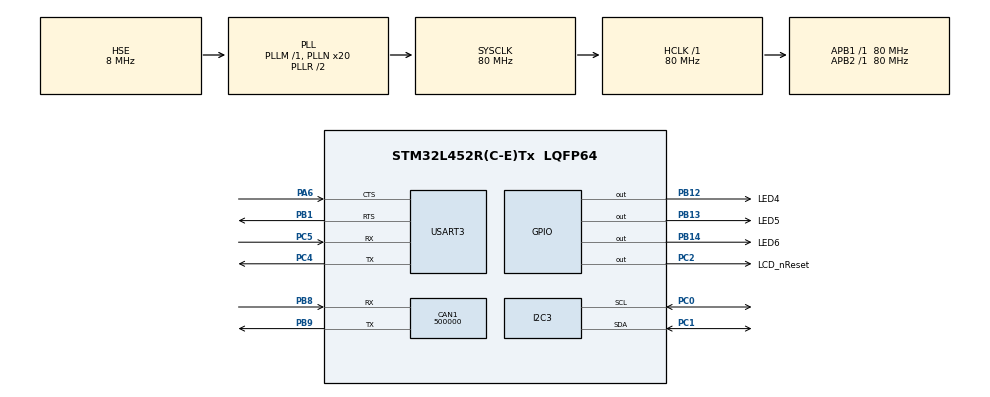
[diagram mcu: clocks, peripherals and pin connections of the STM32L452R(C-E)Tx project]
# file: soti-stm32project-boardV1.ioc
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CAN1.BS1=CAN_BS1_5TQ
CAN1.BS2=CAN_BS2_4TQ
CAN1.CalculateBaudRate=500000
CAN1.CalculateTimeBit=2000
CAN1.CalculateTimeQuantum=200.0
I2C3.OwnAddress=0
I2C3.Timing=0x10909CEC
Mcu.Family=STM32L4
Mcu.Name=STM32L452R(C-E)Tx
Mcu.Package=LQFP64
NVIC.CAN1_RX0_IRQn=true\:0\:0\:false\:false\:true\:true\:true\:true
NVIC.PriorityGroup=NVIC_PRIORITYGROUP_4
NVIC.USART3_IRQn=true\:0\:0\:false\:false\:true\:true\:true\:true
PA13\ (JTMS/SWDIO).Mode=Trace_Asynchronous_SW
PA13\ (JTMS/SWDIO).Signal=SYS_JTMS-SWDIO
PA14\ (JTCK/SWCLK).Mode=Trace_Asynchronous_SW
PA14\ (JTCK/SWCLK).Signal=SYS_JTCK-SWCLK
PA6.Mode=CTS_RTS
PA6.Signal=USART3_CTS
PB1.Mode=CTS_RTS
PB1.Signal=USART3_RTS
PB12.GPIO_Label=LED4
PB12.Signal=GPIO_Output
PB13.GPIO_Label=LED5
PB13.Signal=GPIO_Output
PB14.GPIO_Label=LED6
PB14.Signal=GPIO_Output
PB3\ (JTDO/TRACESWO).Mode=Trace_Asynchronous_SW
PB3\ (JTDO/TRACESWO).Signal=SYS_JTDO-SWO
PB8.Mode=CAN_Activate
PB8.Signal=CAN1_RX
PB9.Mode=CAN_Activate
PB9.Signal=CAN1_TX
PC0.Mode=I2C
PC0.Signal=I2C3_SCL
PC1.Mode=I2C
PC1.Signal=I2C3_SDA
PC2.GPIO_Label=LCD_nReset
PC2.PinState=GPIO_PIN_SET
PC2.Signal=GPIO_Output
PC4.Mode=Asynchronous
PC4.Signal=USART3_TX
PC5.Mode=Asynchronous
PC5.Signal=USART3_RX
PH0-OSC_IN\ (PH0).Mode=HSE-External-Oscillator
PH0-OSC_IN\ (PH0).Signal=RCC_OSC_IN
PH1-OSC_OUT\ (PH1).Mode=HSE-External-Oscillator
PH1-OSC_OUT\ (PH1).Signal=RCC_OSC_OUT
ProjectManager.HeapSize=0x200
ProjectManager.StackSize=0x400
ProjectManager.TargetToolchain=STM32CubeIDE
RCC.ADCFreq_Value=32000000
RCC.AHBFreq_Value=80000000
RCC.APB1Freq_Value=80000000
RCC.APB1TimFreq_Value=80000000
RCC.APB2Freq_Value=80000000
RCC.APB2TimFreq_Value=80000000
RCC.CortexFreq_Value=80000000
RCC.EnbaleCSS=true
RCC.HCLKFreq_Value=80000000
RCC.HSE_Timout=200
RCC.HSE_VALUE=8000000
RCC.HSI48_VALUE=48000000
RCC.HSI_VALUE=16000000
RCC.LSE_VALUE=32768
RCC.MSI_VALUE=4000000
RCC.PLLN=20
RCC.PLLSourceVirtual=RCC_PLLSOURCE_HSE
RCC.SYSCLKFreq_VALUE=80000000
RCC.SYSCLKSource=RCC_SYSCLKSOURCE_PLLCLK
RCC.USBFreq_Value=32000000
RCC.VCOOutputFreq_Value=160000000
TIM16.Period=5000 - 1
TIM16.Prescaler=80 - 1
USART3.VirtualMode-Asynchronous=VM_ASYNC
VP_TIM16_VS_ClockSourceINT.Mode=Enable_Timer
board=custom

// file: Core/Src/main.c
/* USER CODE BEGIN Header */
/**
  ******************************************************************************
  * @file           : main.c
  * @brief          : Main program body
  ******************************************************************************
  * @attention
  *
  * Copyright (c) 2023 STMicroelectronics.
  * All rights reserved.
  *
  * This software is licensed under terms that can be found in the LICENSE file
  * in the root directory of this software component.
  * If no LICENSE file comes with this software, it is provided AS-IS.
  *
  ******************************************************************************
  */
/* USER CODE END Header */
#include "main.h"

/* USER CODE BEGIN Includes */
#include "tuk/can_wrapper.h"
#include "tuk/can_wrapper/can_queue.h"
#include "LEDs_driver.h"
#include "LCD_C0216CiZ_driver.h"
/* USER CODE END Includes */

CAN_HandleTypeDef hcan1;

I2C_HandleTypeDef hi2c3;

TIM_HandleTypeDef htim16;

UART_HandleTypeDef huart3;

/* USER CODE BEGIN PV */
CANQueue groundToSatelliteQueue;
uint8_t canRxData[11];
/* USER CODE END PV */

void SystemClock_Config(void);
static void MX_GPIO_Init(void);
static void MX_CAN1_Init(void);
static void MX_USART3_UART_Init(void);
static void MX_I2C3_Init(void);
static void MX_TIM16_Init(void);
/* USER CODE BEGIN PFP */
void serializeCANMessage(CANMessage* message, uint8_t* serializedData);
void deserializeCANMessage(CANMessage* message, const uint8_t* deserializedData);
void on_message_received(CANMessage msg);
void on_error_occured(CANWrapper_ErrorInfo error);
/* USER CODE END PFP */

/* USER CODE BEGIN 0 */
CANWrapper_InitTypeDef wc_init = {
		.node_id = NODE_CDH,
		.notify_of_acks = true,

		.hcan = &hcan1,
		.htim = &htim16,

		.message_callback = &on_message_received,
		.error_callback = &on_error_occured
};
/* USER CODE END 0 */

int main(void)
{

  /* MCU Configuration--------------------------------------------------------*/

  /* Reset of all peripherals, Initializes the Flash interface and the Systick. */
  HAL_Init();

  /* Configure the system clock */
  SystemClock_Config();

  /* Initialize all configured peripherals */
  MX_GPIO_Init();
  MX_CAN1_Init();
  MX_USART3_UART_Init();
  MX_I2C3_Init();
  MX_TIM16_Init();
  /* USER CODE BEGIN 2 */
  LCD_INIT();
  char *str = "WELCOME TO SOTI!";
  LCD_PRINT_STR(str, 0);
  CANQueue groundToSatelliteQueue = CANQueue_Create();
  HAL_UART_Receive_IT(&huart3, canRxData, sizeof(canRxData));
  CANWrapper_Init(wc_init);
  LEDs_Init();
  /* USER CODE END 2 */

  /* Infinite loop */
  /* USER CODE BEGIN WHILE */
  while (1)
  {
  	CANWrapper_Poll_Messages();
  	CANWrapper_Poll_Errors();

    if (!CANQueue_IsEmpty(&groundToSatelliteQueue))
    {
      //getting message from the queue.
    	CANQueueItem receivedData;
      CANQueue_Dequeue(&groundToSatelliteQueue, &receivedData);

      CANMessage message = receivedData.msg;

      //update the sender ID
      CANWrapper_Set_Node_ID(message.sender);

      NodeID recipient = message.recipient;

      //transferring data over CAN.
      CANWrapper_Transmit(recipient, &message);
    }
    /* USER CODE END WHILE */

  }
}

void SystemClock_Config(void)
{
  RCC_OscInitTypeDef RCC_OscInitStruct = {0};
  RCC_ClkInitTypeDef RCC_ClkInitStruct = {0};

  /** Configure the main internal regulator output voltage
  */
  if (HAL_PWREx_ControlVoltageScaling(PWR_REGULATOR_VOLTAGE_SCALE1) != HAL_OK)
  {
    Error_Handler();
  }

  /** Initializes the RCC Oscillators according to the specified parameters
  * in the RCC_OscInitTypeDef structure.
  */
  RCC_OscInitStruct.OscillatorType = RCC_OSCILLATORTYPE_HSE;
  RCC_OscInitStruct.HSEState = RCC_HSE_ON;
  RCC_OscInitStruct.PLL.PLLState = RCC_PLL_ON;
  RCC_OscInitStruct.PLL.PLLSource = RCC_PLLSOURCE_HSE;
  RCC_OscInitStruct.PLL.PLLM = 1;
  RCC_OscInitStruct.PLL.PLLN = 20;
  RCC_OscInitStruct.PLL.PLLP = RCC_PLLP_DIV7;
  RCC_OscInitStruct.PLL.PLLQ = RCC_PLLQ_DIV2;
  RCC_OscInitStruct.PLL.PLLR = RCC_PLLR_DIV2;
  if (HAL_RCC_OscConfig(&RCC_OscInitStruct) != HAL_OK)
  {
    Error_Handler();
  }

  /** Initializes the CPU, AHB and APB buses clocks
  */
  RCC_ClkInitStruct.ClockType = RCC_CLOCKTYPE_HCLK|RCC_CLOCKTYPE_SYSCLK
                              |RCC_CLOCKTYPE_PCLK1|RCC_CLOCKTYPE_PCLK2;
  RCC_ClkInitStruct.SYSCLKSource = RCC_SYSCLKSOURCE_PLLCLK;
  RCC_ClkInitStruct.AHBCLKDivider = RCC_SYSCLK_DIV1;
  RCC_ClkInitStruct.APB1CLKDivider = RCC_HCLK_DIV1;
  RCC_ClkInitStruct.APB2CLKDivider = RCC_HCLK_DIV1;

  if (HAL_RCC_ClockConfig(&RCC_ClkInitStruct, FLASH_LATENCY_4) != HAL_OK)
  {
    Error_Handler();
  }

  /** Enables the Clock Security System
  */
  HAL_RCC_EnableCSS();
}

static void MX_CAN1_Init(void)
{

  hcan1.Instance = CAN1;
  hcan1.Init.Prescaler = 16;
  hcan1.Init.Mode = CAN_MODE_NORMAL;
  hcan1.Init.SyncJumpWidth = CAN_SJW_1TQ;
  hcan1.Init.TimeSeg1 = CAN_BS1_5TQ;
  hcan1.Init.TimeSeg2 = CAN_BS2_4TQ;
  hcan1.Init.TimeTriggeredMode = DISABLE;
  hcan1.Init.AutoBusOff = DISABLE;
  hcan1.Init.AutoWakeUp = DISABLE;
  hcan1.Init.AutoRetransmission = DISABLE;
  hcan1.Init.ReceiveFifoLocked = DISABLE;
  hcan1.Init.TransmitFifoPriority = DISABLE;
  if (HAL_CAN_Init(&hcan1) != HAL_OK)
  {
    Error_Handler();
  }

}

static void MX_I2C3_Init(void)
{

  hi2c3.Instance = I2C3;
  hi2c3.Init.Timing = 0x10909CEC;
  hi2c3.Init.OwnAddress1 = 0;
  hi2c3.Init.AddressingMode = I2C_ADDRESSINGMODE_7BIT;
  hi2c3.Init.DualAddressMode = I2C_DUALADDRESS_DISABLE;
  hi2c3.Init.OwnAddress2 = 0;
  hi2c3.Init.OwnAddress2Masks = I2C_OA2_NOMASK;
  hi2c3.Init.GeneralCallMode = I2C_GENERALCALL_DISABLE;
  hi2c3.Init.NoStretchMode = I2C_NOSTRETCH_DISABLE;
  if (HAL_I2C_Init(&hi2c3) != HAL_OK)
  {
    Error_Handler();
  }

  /** Configure Analogue filter
  */
  if (HAL_I2CEx_ConfigAnalogFilter(&hi2c3, I2C_ANALOGFILTER_ENABLE) != HAL_OK)
  {
    Error_Handler();
  }

  /** Configure Digital filter
  */
  if (HAL_I2CEx_ConfigDigitalFilter(&hi2c3, 0) != HAL_OK)
  {
    Error_Handler();
  }

}

static void MX_TIM16_Init(void)
{

  htim16.Instance = TIM16;
  htim16.Init.Prescaler = 80 - 1;
  htim16.Init.CounterMode = TIM_COUNTERMODE_UP;
  htim16.Init.Period = 5000 - 1;
  htim16.Init.ClockDivision = TIM_CLOCKDIVISION_DIV1;
  htim16.Init.RepetitionCounter = 0;
  htim16.Init.AutoReloadPreload = TIM_AUTORELOAD_PRELOAD_DISABLE;
  if (HAL_TIM_Base_Init(&htim16) != HAL_OK)
  {
    Error_Handler();
  }

}

static void MX_USART3_UART_Init(void)
{

  huart3.Instance = USART3;
  huart3.Init.BaudRate = 115200;
  huart3.Init.WordLength = UART_WORDLENGTH_8B;
  huart3.Init.StopBits = UART_STOPBITS_1;
  huart3.Init.Parity = UART_PARITY_NONE;
  huart3.Init.Mode = UART_MODE_TX_RX;
  huart3.Init.HwFlowCtl = UART_HWCONTROL_RTS_CTS;
  huart3.Init.OverSampling = UART_OVERSAMPLING_16;
  huart3.Init.OneBitSampling = UART_ONE_BIT_SAMPLE_DISABLE;
  huart3.AdvancedInit.AdvFeatureInit = UART_ADVFEATURE_NO_INIT;
  if (HAL_UART_Init(&huart3) != HAL_OK)
  {
    Error_Handler();
  }

}

static void MX_GPIO_Init(void)
{
  GPIO_InitTypeDef GPIO_InitStruct = {0};

  /* GPIO Ports Clock Enable */
  __HAL_RCC_GPIOH_CLK_ENABLE();
  __HAL_RCC_GPIOC_CLK_ENABLE();
  __HAL_RCC_GPIOA_CLK_ENABLE();
  __HAL_RCC_GPIOB_CLK_ENABLE();

  /*Configure GPIO pin Output Level */
  HAL_GPIO_WritePin(LCD_nReset_GPIO_Port, LCD_nReset_Pin, GPIO_PIN_SET);

  /*Configure GPIO pin Output Level */
  HAL_GPIO_WritePin(GPIOB, LED4_Pin|LED5_Pin|LED6_Pin, GPIO_PIN_RESET);

  /*Configure GPIO pin : LCD_nReset_Pin */
  GPIO_InitStruct.Pin = LCD_nReset_Pin;
  GPIO_InitStruct.Mode = GPIO_MODE_OUTPUT_PP;
  GPIO_InitStruct.Pull = GPIO_NOPULL;
  GPIO_InitStruct.Speed = GPIO_SPEED_FREQ_LOW;
  HAL_GPIO_Init(LCD_nReset_GPIO_Port, &GPIO_InitStruct);

  /*Configure GPIO pins : LED4_Pin LED5_Pin LED6_Pin */
  GPIO_InitStruct.Pin = LED4_Pin|LED5_Pin|LED6_Pin;
  GPIO_InitStruct.Mode = GPIO_MODE_OUTPUT_PP;
  GPIO_InitStruct.Pull = GPIO_NOPULL;
  GPIO_InitStruct.Speed = GPIO_SPEED_FREQ_LOW;
  HAL_GPIO_Init(GPIOB, &GPIO_InitStruct);

}

/* USER CODE BEGIN 4 */
void on_message_received(CANMessage msg)
{
	CANMessage message = msg;
	uint8_t serializedData[11];

	//serializing the CANMessage to transfer over UART.
	serializeCANMessage(&message, serializedData);
	//transferring data over UART.
	HAL_UART_Transmit(&huart3, serializedData, sizeof(serializedData), HAL_MAX_DELAY);
}

void on_error_occured(CANWrapper_ErrorInfo error)
{
	char *str1 = "ERROR:";
	char *str2 = "CAN RX";
	LCD_CLEAR_DISPLAY();
	LCD_PRINT_STR(str1, 0);
	LCD_PRINT_STR(str2, 16);
}

void HAL_UART_RxCpltCallback(UART_HandleTypeDef *huart)
{
	CANMessage message;
  deserializeCANMessage(&message, canRxData);

  CANQueue_Enqueue(&groundToSatelliteQueue, (CANQueueItem){ .msg = message });

  HAL_UART_Receive_IT(&huart3, canRxData, sizeof(canRxData));
}

void serializeCANMessage(CANMessage* message, uint8_t* serializedData)
{
  serializedData[0] = message->priority;
  serializedData[1] = message->sender;
  serializedData[2] = message->recipient;
  serializedData[3] = message->cmd;

  for (int i = 0; i < CAN_MAX_BODY_SIZE; i++)
  {
    serializedData[4 + i] = message->body[i];
  }
}

void deserializeCANMessage(CANMessage* message, const uint8_t* deserializedData)
{
	message->priority = deserializedData[0];
	message->sender = deserializedData[1];
	message->recipient = deserializedData[2];
	message->cmd = deserializedData[3];

  for (int i = 0; i < CAN_MAX_BODY_SIZE; i++)
  {
  	message->body[i] = deserializedData[4 + i];
  }
}
/* USER CODE END 4 */

void Error_Handler(void)
{
  __disable_irq();
  while (1)
  {
  }
}
